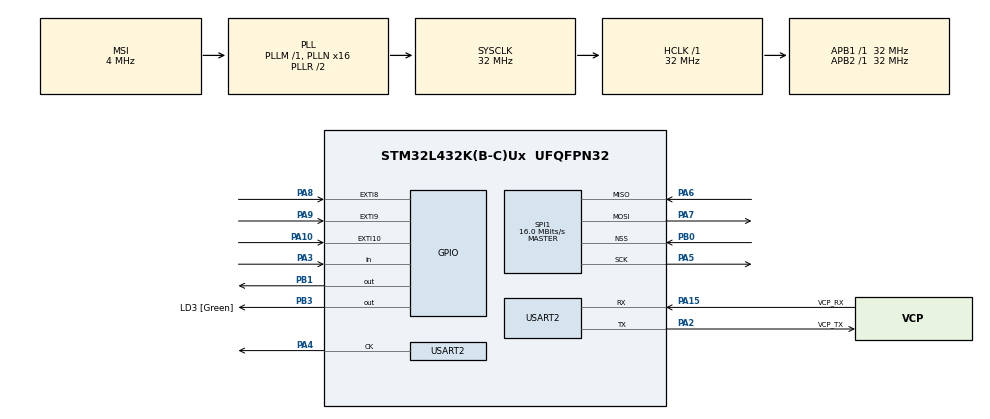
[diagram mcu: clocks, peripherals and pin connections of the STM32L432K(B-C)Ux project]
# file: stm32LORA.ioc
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Mcu.Family=STM32L4
Mcu.Name=STM32L432K(B-C)Ux
Mcu.Package=UFQFPN32
NVIC.PriorityGroup=NVIC_PRIORITYGROUP_4
NVIC.SPI1_IRQn=true\:0\:0\:false\:false\:true\:true\:true\:true
NVIC.USART2_IRQn=true\:0\:0\:false\:false\:true\:true\:true\:true
PA0.GPIO_Label=MCO [High speed clock in]
PA0.Mode=HSE-External-Clock-Source-for-LittleOrca
PA0.Signal=RCC_CK_IN
PA10.Signal=GPXTI10
PA13\ (JTMS-SWDIO).GPIO_Label=SWDIO
PA13\ (JTMS-SWDIO).Mode=Serial_Wire
PA13\ (JTMS-SWDIO).Signal=SYS_JTMS-SWDIO
PA14\ (JTCK-SWCLK).GPIO_Label=SWCLK
PA14\ (JTCK-SWCLK).Mode=Serial_Wire
PA14\ (JTCK-SWCLK).Signal=SYS_JTCK-SWCLK
PA15\ (JTDI).GPIO_Label=VCP_RX
PA15\ (JTDI).Mode=Synchronous
PA15\ (JTDI).Signal=USART2_RX
PA2.GPIO_Label=VCP_TX
PA2.Mode=Synchronous
PA2.Signal=USART2_TX
PA3.Signal=GPIO_Input
PA4.Mode=Synchronous
PA4.Signal=USART2_CK
PA5.Mode=Full_Duplex_Master
PA5.Signal=SPI1_SCK
PA6.Mode=Full_Duplex_Master
PA6.Signal=SPI1_MISO
PA7.Mode=Full_Duplex_Master
PA7.Signal=SPI1_MOSI
PA8.Signal=GPXTI8
PA9.Signal=GPXTI9
PB0.Mode=NSS_Signal_Hard_Input
PB0.Signal=SPI1_NSS
PB1.Signal=GPIO_Output
PB3\ (JTDO-TRACESWO).GPIO_Label=LD3 [Green]
PB3\ (JTDO-TRACESWO).Signal=GPIO_Output
PC14-OSC32_IN\ (PC14).Mode=LSE-External-Oscillator
PC14-OSC32_IN\ (PC14).Signal=RCC_OSC32_IN
PC15-OSC32_OUT\ (PC15).Mode=LSE-External-Oscillator
PC15-OSC32_OUT\ (PC15).Signal=RCC_OSC32_OUT
ProjectManager.HeapSize=0x200
ProjectManager.StackSize=0x400
ProjectManager.TargetToolchain=STM32CubeIDE
RCC.AHBFreq_Value=32000000
RCC.APB1Freq_Value=32000000
RCC.APB1TimFreq_Value=32000000
RCC.APB2Freq_Value=32000000
RCC.APB2TimFreq_Value=32000000
RCC.CortexFreq_Value=32000000
RCC.HCLKFreq_Value=32000000
RCC.HSE_VALUE=8000000
RCC.HSI16_VALUE=16000000
RCC.HSI48_VALUE=48000000
RCC.HSI_VALUE=16000000
RCC.MSI_VALUE=4000000
RCC.PLLMUL=RCC_PLLMUL_4
RCC.PLLN=16
RCC.SYSCLKFreq_VALUE=32000000
RCC.SYSCLKSource=RCC_SYSCLKSOURCE_PLLCLK
RCC.VCOOutputFreq_Value=64000000
SPI1.CalculateBaudRate=16.0 MBits/s
SPI1.Direction=SPI_DIRECTION_2LINES
SPI1.Mode=SPI_MODE_MASTER
SPI1.VirtualNSS=VM_NSSHARD
SPI1.VirtualType=VM_MASTER
USART2.VirtualMode-Synchronous=VM_SYNC
board=NUCLEO-L432KC

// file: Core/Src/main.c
/* USER CODE BEGIN Header */
/**
  ******************************************************************************
  * @file           : main.c
  * @brief          : Main program body
  ******************************************************************************
  * @attention
  *
  * Copyright (c) 2024 STMicroelectronics.
  * All rights reserved.
  *
  * This software is licensed under terms that can be found in the LICENSE file
  * in the root directory of this software component.
  * If no LICENSE file comes with this software, it is provided AS-IS.
  *
  ******************************************************************************
  */
/* USER CODE END Header */
#include "main.h"

/* USER CODE BEGIN Includes */
#include "lora.h"
#include "led.h"
#include <string.h>
#include <stdio.h>
#include <stdlib.h>
#include <stdint.h>

/* USER CODE END Includes */

/* USER CODE BEGIN PM */
#define MASTER //Sender
//#define SLAVE //Receiver(s)
/* USER CODE END PM */

SPI_HandleTypeDef hspi1;

USART_HandleTypeDef husart2;

/* USER CODE BEGIN PV */

int test = 0;
uint8_t* test_var = (uint8_t *)"Hello";
uint8_t* test1_var = (uint8_t *)"four";
uint8_t buffer[32];
uint8_t packet_avail = 0;
char instruct[50];
char version[10];

/* USER CODE END PV */

void SystemClock_Config(void);
static void MX_GPIO_Init(void);
static void MX_USART2_Init(void);
static void MX_SPI1_Init(void);

/* USER CODE BEGIN 0 */
void HAL_GPIO_EXTI_Callback(uint16_t GPIO_Pin);

/* USER CODE END 0 */

int main(void)
{

  /* MCU Configuration--------------------------------------------------------*/

  /* Reset of all peripherals, Initializes the Flash interface and the Systick. */
  HAL_Init();

  /* USER CODE BEGIN Init */
  lora_sx1276 lora;

  /* USER CODE END Init */

  /* Configure the system clock */
  SystemClock_Config();

  /* Initialize all configured peripherals */
  MX_GPIO_Init();
  MX_USART2_Init();
  MX_SPI1_Init();
  /* USER CODE BEGIN 2 */

  // Reset pin pulled low
  GPIOB->ODR &= ~(1U << 1);
  HAL_Delay(10);
  // Reset pin pulled high
  GPIOB->ODR |= (1U << 1);
  HAL_Delay(10);

  uint8_t init = lora_init(&lora, &hspi1, GPIOB, GPIO_PIN_0, LORA_BASE_FREQUENCY_US);
  if (init != LORA_OK)
  	// Initialization failed
	  boardled_off();
  else
	  boardled_on();

  char version = lora_version(&lora);
  uint8_t ver = lora_version(&lora);
  if (ver != LORA_COMPATIBLE_VERSION)
  {
	  sprintf(instruct, "Got wrong radio version 0x%x, expected 0x12", ver);
	  sprintf(version, "0x%x", ver);
	  return LORA_ERROR;
  }

  uint8_t state = read(&lora, 0x12);
  sprintf(instruct, "%x", state);
  HAL_USART_Transmit(&husart2, instruct, strlen(instruct), 100);

    /* USER CODE END 2 */

    /* Infinite loop */
    while (1)
    {
      #ifdef SLAVE
  	lora_mode_standby(&lora);
  	test = 606;
   // Send packets in blocking mode
  	lora_send_packet(&lora, test_var, 5);
  	HAL_Delay(5000);
  	lora_send_packet(&lora, test1_var, 4);
  	HAL_Delay(5000);

  	uint8_t packet_avail = lora_is_transmitting(&lora);

  	HAL_USART_Transmit(&husart2, test_var, 5, 100);

  	//sprintf(instruct, "%x", packet_avail);
  	// HAL_USART_Transmit(&husart2, instruct, strlen(instruct), 100);

  		if (packet_avail == 0)
  		{
  			sprintf(instruct, "No packet transmission");
  			//HAL_USART_Transmit(&husart2, instruct, strlen(instruct), 100);
  		}
  		else
  		{
  			sprintf(instruct, "Transmitting packet");
  			//HAL_USART_Transmit(&husart2, instruct, strlen(instruct), 100);
  		}

  	#endif

    #ifdef MASTER
  	// Standby mode
  	lora_mode_standby(&lora);
  	uint8_t packet_avail = lora_is_packet_available(&lora);

  	//sprintf(instruct, "Register %x", packet_avail);
  	//HAL_USART_Transmit(&husart2, instruct, strlen(instruct), 100);

  	if (packet_avail == 0)
  	{
  		sprintf(instruct, "No packet available\r\n");
  		HAL_USART_Transmit(&husart2, instruct, strlen(instruct), 1000);
  	}
  	else
  	{
  		sprintf(instruct, "Packet ready\r\n");
  		//HAL_USART_Transmit(&husart2, instruct, strlen(instruct), 1000);

  		/*
  		uint8_t res;
  		uint8_t len = lora_receive_packet_blocking(&lora, buffer, sizeof(buffer), 10000, &res);
  		if (res != LORA_OK)
  		{
  			// Receive failed
  		  	test = 505;
  		}
  		int instruct_len = sprintf(instruct, "Received packet data: ");
  		for (int i = 0; i < len; i++)
  		{
  			instruct_len += sprintf(instruct + instruct_len, "%02x ", buffer[i]); // Append each byte to instruct
  		}

  		// Ensure instruct is null-terminated
  		instruct[instruct_len] = '\0';

  		// Transmit the formatted data in instruct array using HAL_USART_Transmit
  		HAL_USART_Transmit(&husart2, instruct, strlen(instruct), 1000);
  		*/
  	}

  	// Put LoRa modem into continuous receive mode
  	lora_mode_receive_continuous(&lora);
  	// Wait for packet up to 10sec
  	uint8_t res;
  	uint8_t len = lora_receive_packet_blocking(&lora, buffer, sizeof(buffer), 60000, &res);

  	// Convert res to a string

  	char res_str[5];
  	sprintf(res_str, "%u", res);

  	// Transmit the string representation of res using HAL_USART_Transmit
  	HAL_USART_Transmit(&husart2, (uint8_t *)res_str, strlen(res_str), 1000);
  	sprintf(instruct, "\r\n");
  	HAL_USART_Transmit(&husart2, instruct, strlen(instruct), 1000);

  	if (res != LORA_OK)
  	{
  		// Receive failed
  		//sprintf(instruct, "Failed!\r\n");
  		//HAL_USART_Transmit(&husart2, instruct, strlen(instruct), 1000);

  	  	test = 505;
  	}
  	else
  	{
  		buffer[len] = 0;  // null terminate string to print it
  		HAL_USART_Transmit(&husart2, buffer, len, 1000);
  	}
   #endif
      /* USER CODE BEGIN 3*/
    }
  //lora_mode_sleep(&lora);

  //#ifdef SLAVE
 // lora_clear_interrupt_tx_done(&lora);
  //#endif

  /* USER CODE END 3 */
}

void SystemClock_Config(void)
{
  RCC_OscInitTypeDef RCC_OscInitStruct = {0};
  RCC_ClkInitTypeDef RCC_ClkInitStruct = {0};

  /** Configure the main internal regulator output voltage
  */
  if (HAL_PWREx_ControlVoltageScaling(PWR_REGULATOR_VOLTAGE_SCALE1) != HAL_OK)
  {
    Error_Handler();
  }

  /** Configure LSE Drive Capability
  */
  HAL_PWR_EnableBkUpAccess();
  __HAL_RCC_LSEDRIVE_CONFIG(RCC_LSEDRIVE_LOW);

  /** Initializes the RCC Oscillators according to the specified parameters
  * in the RCC_OscInitTypeDef structure.
  */
  RCC_OscInitStruct.OscillatorType = RCC_OSCILLATORTYPE_LSE|RCC_OSCILLATORTYPE_MSI;
  RCC_OscInitStruct.LSEState = RCC_LSE_ON;
  RCC_OscInitStruct.MSIState = RCC_MSI_ON;
  RCC_OscInitStruct.MSICalibrationValue = 0;
  RCC_OscInitStruct.MSIClockRange = RCC_MSIRANGE_6;
  RCC_OscInitStruct.PLL.PLLState = RCC_PLL_ON;
  RCC_OscInitStruct.PLL.PLLSource = RCC_PLLSOURCE_MSI;
  RCC_OscInitStruct.PLL.PLLM = 1;
  RCC_OscInitStruct.PLL.PLLN = 16;
  RCC_OscInitStruct.PLL.PLLP = RCC_PLLP_DIV7;
  RCC_OscInitStruct.PLL.PLLQ = RCC_PLLQ_DIV2;
  RCC_OscInitStruct.PLL.PLLR = RCC_PLLR_DIV2;
  if (HAL_RCC_OscConfig(&RCC_OscInitStruct) != HAL_OK)
  {
    Error_Handler();
  }

  /** Initializes the CPU, AHB and APB buses clocks
  */
  RCC_ClkInitStruct.ClockType = RCC_CLOCKTYPE_HCLK|RCC_CLOCKTYPE_SYSCLK
                              |RCC_CLOCKTYPE_PCLK1|RCC_CLOCKTYPE_PCLK2;
  RCC_ClkInitStruct.SYSCLKSource = RCC_SYSCLKSOURCE_PLLCLK;
  RCC_ClkInitStruct.AHBCLKDivider = RCC_SYSCLK_DIV1;
  RCC_ClkInitStruct.APB1CLKDivider = RCC_HCLK_DIV1;
  RCC_ClkInitStruct.APB2CLKDivider = RCC_HCLK_DIV1;

  if (HAL_RCC_ClockConfig(&RCC_ClkInitStruct, FLASH_LATENCY_1) != HAL_OK)
  {
    Error_Handler();
  }

  /** Enable MSI Auto calibration
  */
  HAL_RCCEx_EnableMSIPLLMode();
}

static void MX_SPI1_Init(void)
{

  /* SPI1 parameter configuration*/
  hspi1.Instance = SPI1;
  hspi1.Init.Mode = SPI_MODE_MASTER;
  hspi1.Init.Direction = SPI_DIRECTION_2LINES;
  hspi1.Init.DataSize = SPI_DATASIZE_4BIT;
  hspi1.Init.CLKPolarity = SPI_POLARITY_LOW;
  hspi1.Init.CLKPhase = SPI_PHASE_1EDGE;
  hspi1.Init.NSS = SPI_NSS_HARD_INPUT;
  hspi1.Init.BaudRatePrescaler = SPI_BAUDRATEPRESCALER_2;
  hspi1.Init.FirstBit = SPI_FIRSTBIT_MSB;
  hspi1.Init.TIMode = SPI_TIMODE_DISABLE;
  hspi1.Init.CRCCalculation = SPI_CRCCALCULATION_DISABLE;
  hspi1.Init.CRCPolynomial = 7;
  hspi1.Init.CRCLength = SPI_CRC_LENGTH_DATASIZE;
  hspi1.Init.NSSPMode = SPI_NSS_PULSE_ENABLE;
  if (HAL_SPI_Init(&hspi1) != HAL_OK)
  {
    Error_Handler();
  }

}

static void MX_USART2_Init(void)
{

  husart2.Instance = USART2;
  husart2.Init.BaudRate = 115200;
  husart2.Init.WordLength = USART_WORDLENGTH_8B;
  husart2.Init.StopBits = USART_STOPBITS_1;
  husart2.Init.Parity = USART_PARITY_NONE;
  husart2.Init.Mode = USART_MODE_TX_RX;
  husart2.Init.CLKPolarity = USART_POLARITY_LOW;
  husart2.Init.CLKPhase = USART_PHASE_1EDGE;
  husart2.Init.CLKLastBit = USART_LASTBIT_DISABLE;
  if (HAL_USART_Init(&husart2) != HAL_OK)
  {
    Error_Handler();
  }

}

static void MX_GPIO_Init(void)
{
  GPIO_InitTypeDef GPIO_InitStruct = {0};

  /* GPIO Ports Clock Enable */
  __HAL_RCC_GPIOC_CLK_ENABLE();
  __HAL_RCC_GPIOA_CLK_ENABLE();
  __HAL_RCC_GPIOB_CLK_ENABLE();

  /*Configure GPIO pin Output Level */
  HAL_GPIO_WritePin(GPIOB, GPIO_PIN_1|LD3_Pin, GPIO_PIN_RESET);

  /*Configure GPIO pin : PA3 */
  GPIO_InitStruct.Pin = GPIO_PIN_3;
  GPIO_InitStruct.Mode = GPIO_MODE_INPUT;
  GPIO_InitStruct.Pull = GPIO_NOPULL;
  HAL_GPIO_Init(GPIOA, &GPIO_InitStruct);

  /*Configure GPIO pins : PB1 LD3_Pin */
  GPIO_InitStruct.Pin = GPIO_PIN_1|LD3_Pin;
  GPIO_InitStruct.Mode = GPIO_MODE_OUTPUT_PP;
  GPIO_InitStruct.Pull = GPIO_NOPULL;
  GPIO_InitStruct.Speed = GPIO_SPEED_FREQ_LOW;
  HAL_GPIO_Init(GPIOB, &GPIO_InitStruct);

  /*Configure GPIO pins : PA8 PA9 PA10 */
  GPIO_InitStruct.Pin = GPIO_PIN_8|GPIO_PIN_9|GPIO_PIN_10;
  GPIO_InitStruct.Mode = GPIO_MODE_IT_RISING;
  GPIO_InitStruct.Pull = GPIO_NOPULL;
  HAL_GPIO_Init(GPIOA, &GPIO_InitStruct);

}

void Error_Handler(void)
{
  __disable_irq();
  while (1)
  {
  }
}
